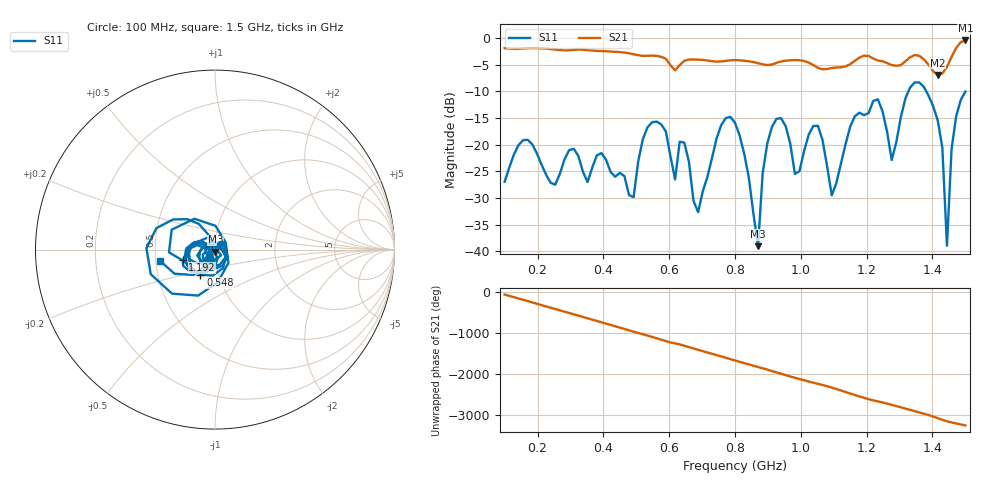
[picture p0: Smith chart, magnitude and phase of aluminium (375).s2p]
! NanoVNA-App
! Date: 2025-09-25 14:58:12
! Start: 100MHz Stop: 1,5GHz Points: 101
! S-Parameter data: F S11 S21 S12 S22
# Hz S RI R 50
!  Frequency  S11_Real  S11_Imag  S21_Real  S21_Imag  S12_Real  S12_Imag  S22_Real  S22_Imag
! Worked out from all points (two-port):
!   101 points, 100 MHz to 1.5 GHz, reference 50 ohm
!   highest |S21| = -0.47 dB at 1.5 GHz (marker M1); lowest = -6.9 dB at 1.416 GHz (marker M2)
!   |S21| within 3 dB of the highest: start of sweep to 570.4 MHz; 1.459 GHz to end of sweep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
!   lowest |S11| = -39.0 dB at 870 MHz (marker M3), VSWR 1.02, Z = 50.2 - j1.11 ohm
!   |S11| at or under -10 dB: start of sweep to 1.327 GHz; 1.381 GHz to end of sweep
!   S12 and S22 are empty: the file has one direction only
!   S11 on the Smith chart (normalised r, x): 100 MHz: 1.07, +0.06; 548 MHz: 0.82, -0.24; 1.192 GHz: 0.69, -0.08; 1.5 GHz: 0.53, -0.07
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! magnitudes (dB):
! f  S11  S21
! 100 MHz  -27.0  -1.9
! 156 MHz  -19.2  -2.0
! 338 MHz  -25.1  -2.2
! 492 MHz  -29.8  -3.1
! 548 MHz  -15.8  -3.3
! 576 MHz  -16.2  -3.5
! 646 MHz  -19.6  -4.3
! 688 MHz  -32.6  -4.1
! 800 MHz  -15.9  -4.2
! 870 MHz  -39.0  -4.7
! 912 MHz  -16.7  -5.0
! 982 MHz  -25.5  -4.1
! 1.038 GHz  -16.5  -5.1
! 1.094 GHz  -29.5  -5.6
! 1.192 GHz  -14.5  -3.3
! 1.234 GHz  -11.5  -4.2
! 1.276 GHz  -22.9  -5.1
! 1.346 GHz  -8.3  -3.2
! 1.416 GHz  -15.5  -6.9
! 1.444 GHz  -38.9  -5.4
! 1.458 GHz  -20.8  -3.5
! 1.5 GHz  -10.1  -0.5
